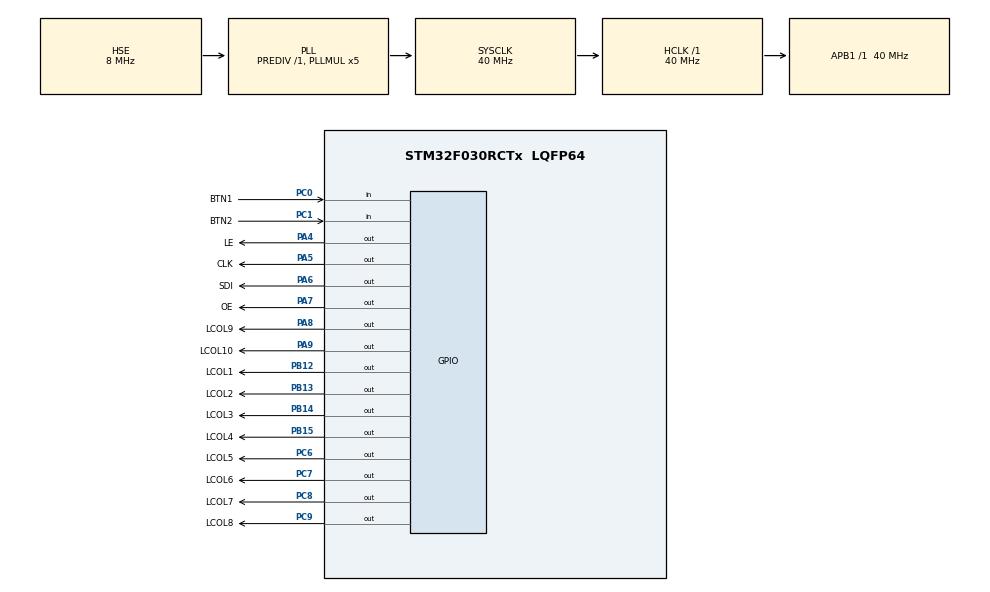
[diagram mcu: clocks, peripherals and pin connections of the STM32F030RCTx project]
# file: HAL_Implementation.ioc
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Mcu.Family=STM32F0
Mcu.Name=STM32F030RCTx
Mcu.Package=LQFP64
NVIC.RTC_IRQn=true\:0\:0\:false\:false\:true\:true
NVIC.TIM1_BRK_UP_TRG_COM_IRQn=true\:0\:0\:false\:false\:true\:false
NVIC.TIM7_IRQn=true\:0\:0\:false\:false\:true\:true
NVIC.TimeBase=TIM1_BRK_UP_TRG_COM_IRQn
NVIC.TimeBaseIP=TIM1
PA13.Mode=Serial_Wire
PA13.Signal=SYS_SWDIO
PA14.Mode=Serial_Wire
PA14.Signal=SYS_SWCLK
PA4.GPIO_Label=LE
PA4.Signal=GPIO_Output
PA5.GPIO_Label=CLK
PA5.Signal=GPIO_Output
PA6.GPIO_Label=SDI
PA6.Signal=GPIO_Output
PA7.GPIO_Label=OE
PA7.Signal=GPIO_Output
PA8.GPIO_Label=LCOL9
PA8.PinState=GPIO_PIN_SET
PA8.Signal=GPIO_Output
PA9.GPIO_Label=LCOL10
PA9.PinState=GPIO_PIN_SET
PA9.Signal=GPIO_Output
PB12.GPIO_Label=LCOL1
PB12.PinState=GPIO_PIN_SET
PB12.Signal=GPIO_Output
PB13.GPIO_Label=LCOL2
PB13.PinState=GPIO_PIN_SET
PB13.Signal=GPIO_Output
PB14.GPIO_Label=LCOL3
PB14.PinState=GPIO_PIN_SET
PB14.Signal=GPIO_Output
PB15.GPIO_Label=LCOL4
PB15.PinState=GPIO_PIN_SET
PB15.Signal=GPIO_Output
PC0.GPIO_Label=BTN1
PC0.Signal=GPIO_Input
PC1.GPIO_Label=BTN2
PC1.Signal=GPIO_Input
PC14OSC32_IN.Mode=LSE-External-Oscillator
PC14OSC32_IN.Signal=RCC_OSC32_IN
PC15OSC32_OUT.Mode=LSE-External-Oscillator
PC15OSC32_OUT.Signal=RCC_OSC32_OUT
PC6.GPIO_Label=LCOL5
PC6.PinState=GPIO_PIN_SET
PC6.Signal=GPIO_Output
PC7.GPIO_Label=LCOL6
PC7.PinState=GPIO_PIN_SET
PC7.Signal=GPIO_Output
PC8.GPIO_Label=LCOL7
PC8.PinState=GPIO_PIN_SET
PC8.Signal=GPIO_Output
PC9.GPIO_Label=LCOL8
PC9.PinState=GPIO_PIN_SET
PC9.Signal=GPIO_Output
PF0-OSC_IN.Mode=HSE-External-Oscillator
PF0-OSC_IN.Signal=RCC_OSC_IN
PF1-OSC_OUT.Mode=HSE-External-Oscillator
PF1-OSC_OUT.Signal=RCC_OSC_OUT
ProjectManager.HeapSize=0x200
ProjectManager.StackSize=0x400
ProjectManager.TargetToolchain=TrueSTUDIO
RCC.AHBFreq_Value=40000000
RCC.APB1Freq_Value=40000000
RCC.APB1TimFreq_Value=40000000
RCC.HCLKFreq_Value=40000000
RCC.PLLMUL=RCC_PLL_MUL5
RCC.PLLSourceVirtual=RCC_PLLSOURCE_HSE
RCC.RTCClockSelection=RCC_RTCCLKSOURCE_LSE
RCC.SYSCLKFreq_VALUE=40000000
RCC.SYSCLKSource=RCC_SYSCLKSOURCE_PLLCLK
RTC.Alarm-Alarm\ A=RTC_ALARM_A
RTC.AlarmMaskDateWeekDay-Alarm\ A=RTC_ALARMMASK_DATEWEEKDAY
RTC.AlarmMaskHours-Alarm\ A=RTC_ALARMMASK_HOURS
RTC.AlarmMaskMinutes-Alarm\ A=RTC_ALARMMASK_MINUTES
RTC.AlarmMaskSeconds-Alarm\ A=RTC_ALARMMASK_SECONDS
RTC.AlarmSubSecondMask-Alarm\ A=RTC_ALARMSUBSECONDMASK_NONE
RTC.Format=RTC_FORMAT_BIN
RTC.HourFormat=RTC_HOURFORMAT_12
TIM6.Period=0
TIM6.Prescaler=40
TIM7.AutoReloadPreload=TIM_AUTORELOAD_PRELOAD_ENABLE
TIM7.Period=0
TIM7.Prescaler=1600
VP_RTC_VS_RTC_Activate.Mode=RTC_Enabled
VP_RTC_VS_RTC_Alarm_A_Intern.Mode=Alarm A
VP_RTC_VS_RTC_Calendar.Mode=RTC_Calendar
VP_SYS_VS_tim1.Mode=TIM1
VP_TIM6_VS_ClockSourceINT.Mode=Enable_Timer
VP_TIM7_VS_ClockSourceINT.Mode=Enable_Timer
board=custom

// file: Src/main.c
/**
  ******************************************************************************
  * @file           : main.c
  * @brief          : Main program body
  ******************************************************************************
  ** This notice applies to any and all portions of this file
  * that are not between comment pairs USER CODE BEGIN and
  * USER CODE END. Other portions of this file, whether
  * inserted by the user or by software development tools
  * are owned by their respective copyright owners.
  *
  * COPYRIGHT(c) 2018 STMicroelectronics
  *
  * Redistribution and use in source and binary forms, with or without modification,
  * are permitted provided that the following conditions are met:
  *   1. Redistributions of source code must retain the above copyright notice,
  *      this list of conditions and the following disclaimer.
  *   2. Redistributions in binary form must reproduce the above copyright notice,
  *      this list of conditions and the following disclaimer in the documentation
  *      and/or other materials provided with the distribution.
  *   3. Neither the name of STMicroelectronics nor the names of its contributors
  *      may be used to endorse or promote products derived from this software
  *      without specific prior written permission.
  *
  * THIS SOFTWARE IS PROVIDED BY THE COPYRIGHT HOLDERS AND CONTRIBUTORS "AS IS"
  * AND ANY EXPRESS OR IMPLIED WARRANTIES, INCLUDING, BUT NOT LIMITED TO, THE
  * IMPLIED WARRANTIES OF MERCHANTABILITY AND FITNESS FOR A PARTICULAR PURPOSE ARE
  * DISCLAIMED. IN NO EVENT SHALL THE COPYRIGHT HOLDER OR CONTRIBUTORS BE LIABLE
  * FOR ANY DIRECT, INDIRECT, INCIDENTAL, SPECIAL, EXEMPLARY, OR CONSEQUENTIAL
  * DAMAGES (INCLUDING, BUT NOT LIMITED TO, PROCUREMENT OF SUBSTITUTE GOODS OR
  * SERVICES; LOSS OF USE, DATA, OR PROFITS; OR BUSINESS INTERRUPTION) HOWEVER
  * CAUSED AND ON ANY THEORY OF LIABILITY, WHETHER IN CONTRACT, STRICT LIABILITY,
  * OR TORT (INCLUDING NEGLIGENCE OR OTHERWISE) ARISING IN ANY WAY OUT OF THE USE
  * OF THIS SOFTWARE, EVEN IF ADVISED OF THE POSSIBILITY OF SUCH DAMAGE.
  *
  ******************************************************************************
  */
#include "main.h"
#include "stm32f0xx_hal.h"
#include "rtc.h"
#include "tim.h"
#include "gpio.h"

/* USER CODE BEGIN Includes */
#define TLC5925_WIDTH 16
/* USER CODE END Includes */

/* USER CODE BEGIN PV */
/* Private variables ---------------------------------------------------------*/
uint16_t* active_leds_columns;
uint8_t cur_column = 0;
uint8_t mutex = 0;
GPIO_TypeDef* COL_port_array[] = { LCOL1_GPIO_Port, LCOL2_GPIO_Port,
LCOL3_GPIO_Port, LCOL4_GPIO_Port, LCOL5_GPIO_Port, LCOL6_GPIO_Port,
LCOL7_GPIO_Port, LCOL8_GPIO_Port, LCOL9_GPIO_Port, LCOL10_GPIO_Port, NULL };
uint16_t COL_pin_array[] = { LCOL1_Pin, LCOL2_Pin, LCOL3_Pin, LCOL4_Pin,
LCOL5_Pin, LCOL6_Pin, LCOL7_Pin, LCOL8_Pin, LCOL9_Pin, LCOL10_Pin, 0 };
/* USER CODE END PV */

void SystemClock_Config(void);

/* USER CODE BEGIN PFP */
/* Private function prototypes -----------------------------------------------*/

/* USER CODE END PFP */

int main(void)
{

  /* MCU Configuration----------------------------------------------------------*/

  /* Reset of all peripherals, Initializes the Flash interface and the Systick. */
  HAL_Init();

  /* Configure the system clock */
  SystemClock_Config();

  /* Initialize all configured peripherals */
  MX_GPIO_Init();
  MX_RTC_Init();
  MX_TIM6_Init();
  MX_TIM7_Init();
  /* USER CODE BEGIN 2 */
	active_leds_columns = (uint16_t*) malloc(sizeof(uint16_t) * TLC5925_WIDTH);
	if (active_leds_columns == NULL)
		Error_Handler();
	memset(active_leds_columns, 0, sizeof(uint16_t) * TLC5925_WIDTH);
	HAL_GPIO_WritePin(OE_GPIO_Port, OE_Pin, GPIO_PIN_RESET);
	HAL_TIM_Base_Start_IT(&htim7);
  /* USER CODE END 2 */

  /* Infinite loop */
	while (1) {

	}

}

void SystemClock_Config(void)
{

  RCC_OscInitTypeDef RCC_OscInitStruct;
  RCC_ClkInitTypeDef RCC_ClkInitStruct;
  RCC_PeriphCLKInitTypeDef PeriphClkInit;

    /**Configure LSE Drive Capability
    */
  HAL_PWR_EnableBkUpAccess();

  __HAL_RCC_LSEDRIVE_CONFIG(RCC_LSEDRIVE_HIGH);

    /**Initializes the CPU, AHB and APB busses clocks
    */
  RCC_OscInitStruct.OscillatorType = RCC_OSCILLATORTYPE_HSE|RCC_OSCILLATORTYPE_LSE;
  RCC_OscInitStruct.HSEState = RCC_HSE_ON;
  RCC_OscInitStruct.LSEState = RCC_LSE_ON;
  RCC_OscInitStruct.PLL.PLLState = RCC_PLL_ON;
  RCC_OscInitStruct.PLL.PLLSource = RCC_PLLSOURCE_HSE;
  RCC_OscInitStruct.PLL.PLLMUL = RCC_PLL_MUL5;
  RCC_OscInitStruct.PLL.PREDIV = RCC_PREDIV_DIV1;
  if (HAL_RCC_OscConfig(&RCC_OscInitStruct) != HAL_OK)
  {
    _Error_Handler(__FILE__, __LINE__);
  }

    /**Initializes the CPU, AHB and APB busses clocks
    */
  RCC_ClkInitStruct.ClockType = RCC_CLOCKTYPE_HCLK|RCC_CLOCKTYPE_SYSCLK
                              |RCC_CLOCKTYPE_PCLK1;
  RCC_ClkInitStruct.SYSCLKSource = RCC_SYSCLKSOURCE_PLLCLK;
  RCC_ClkInitStruct.AHBCLKDivider = RCC_SYSCLK_DIV1;
  RCC_ClkInitStruct.APB1CLKDivider = RCC_HCLK_DIV1;

  if (HAL_RCC_ClockConfig(&RCC_ClkInitStruct, FLASH_LATENCY_1) != HAL_OK)
  {
    _Error_Handler(__FILE__, __LINE__);
  }

  PeriphClkInit.PeriphClockSelection = RCC_PERIPHCLK_RTC;
  PeriphClkInit.RTCClockSelection = RCC_RTCCLKSOURCE_LSE;
  if (HAL_RCCEx_PeriphCLKConfig(&PeriphClkInit) != HAL_OK)
  {
    _Error_Handler(__FILE__, __LINE__);
  }

    /**Configure the Systick interrupt time
    */
  HAL_SYSTICK_Config(HAL_RCC_GetHCLKFreq()/1000);

    /**Configure the Systick
    */
  HAL_SYSTICK_CLKSourceConfig(SYSTICK_CLKSOURCE_HCLK);

  /* SysTick_IRQn interrupt configuration */
  HAL_NVIC_SetPriority(SysTick_IRQn, 0, 0);
}

/* USER CODE BEGIN 4 */

/**
 * Delay function using Timer6 as a timebase. Delays for the specified amount of us.
 */
void __delay_us(uint16_t us) {
	htim6.Instance->CR1 |= TIM_CR1_CEN; //Run Timer
	while (htim6.Instance->CNT < us)
		; //Wait and be vewwy vewwy quiet
	htim6.Instance->CR1 &= ~(TIM_CR1_CEN); //Stop Timer
	htim6.Instance->CNT = 0; //Reset Value
}

/**
 * Function that puts the 16bit int specified in out into the TLC5925 LED Driver on the board.
 * LE is pulsed so the buffers are cleared. LE and CLK Signals are cleared at return. SDI is not
 */
void TLC_Out(uint16_t out) {

//Sanity check. We care about these two lines. SDI is irrelevant and OE is controlled elsewhere
	HAL_GPIO_WritePin(LE_GPIO_Port, LE_Pin, GPIO_PIN_RESET);
	HAL_GPIO_WritePin(CLK_GPIO_Port, CLK_Pin, GPIO_PIN_RESET);

//Shift through the bits one by one and put em in the chip. Right now 1us delay bc debugging
	for (int i = 0; i < 16; i++) {
		HAL_GPIO_WritePin(SDI_GPIO_Port, SDI_Pin, (out << i) & 0x01);
		__delay_us(1);
		HAL_GPIO_WritePin(CLK_GPIO_Port, CLK_Pin, GPIO_PIN_SET);
		__delay_us(1);
		HAL_GPIO_WritePin(CLK_GPIO_Port, CLK_Pin, GPIO_PIN_RESET);
	}

//Pulse LE to put the buffers through to the actual pins. Also 1us bc debugging. sue me
	HAL_GPIO_WritePin(LE_GPIO_Port, LE_Pin, GPIO_PIN_SET);
	__delay_us(1);
	HAL_GPIO_WritePin(LE_GPIO_Port, LE_Pin, GPIO_PIN_RESET);

}

void ColumnOut(GPIO_TypeDef* port, uint16_t pin) {

	HAL_GPIO_WritePin(port, pin, GPIO_PIN_RESET);
	while (mutex)
		;
	mutex = ~mutex;
	TLC_Out(active_leds_columns[cur_column]);
	__delay_us(5);
	cur_column = (cur_column + 1) % 10;
	mutex = ~mutex;
	HAL_GPIO_WritePin(port, pin, GPIO_PIN_SET);

}

/**
 * Specified for the german front panel.
 */
void DecodeTime(RTC_TimeTypeDef time) {

	//Wait for mutex and lock it if you can
	while (mutex)
		;
	mutex = ~mutex;

	//Reset
	memset(active_leds_columns, 0, sizeof(uint16_t) * TLC5925_WIDTH);

	//Always needed
	active_leds_columns[0] |= 0xDC00; //0xDC00 = [Es ist] on
	active_leds_columns[8] |= 0x0007; //0x0007 = [Uhr] on

	uint8_t min_index = time.Minutes / 5;
	uint8_t hour_index = time.Hours % 12;

	/**	Minute Math
	 * 0-59 / 5 = 0-11
	 * 0 = - [-]
	 * 1 =  [Fünf + Nach]x
	 * 2 =  [Zehn + Nach]x
	 * 3 =  [Viertel + Nach]x
	 * 4 =  [Zwanzig + Nach]x
	 * 5 =  [Fünf + Vor + Halb]
	 * 6 =  [Halb] 					+h
	 * 7 =  [Fünf + Nach + Halb]	+h
	 * 8 =  [Zwanzig + Vor]			+h
	 * 9 =  [Drei + viertel]		+h
	 * 10 = [Zehn + Vor]			+h
	 * 11 = [Fünf + Vor]			+h
	 *
	 * [Nach] 	 = 		Row: 3 | Leds: 0x1E00
	 * [Vor]  	 =		Row: 3 | Leds: 0xE000
	 * [Fünf] 	 =		Row: 0 | Leds: 0x00F0
	 * [Zehn] 	 =		Row: 1 | Leds: 0xF000
	 * [Viertel] =		Row: 2 | Leds: 0x07F0
	 * [Zwanzig] =		Row: 1 | Leds: 0x07F0
	 * [Drei]	 =		Row: 2 | Leds: 0x7800
	 * [Halb]	 =		Row: 3 | Leds: 0x00F0
	 */
	if (min_index) {
		if (min_index < 5 || min_index == 7) {	//[Nach]
			active_leds_columns[3] |= 0x1E00;
		}
		if (min_index > 9 || min_index == 8 || min_index == 5) {	//[Vor]
			active_leds_columns[3] |= 0xE000;
		}
		if (min_index % 6 == 1 || min_index % 6 == 5) {	//[Fünf]
			active_leds_columns[0] |= 0x00F0;
		}
		if (min_index % 8 == 2) {	//[Zehn]
			active_leds_columns[1] |= 0xF000;
		}
		if (min_index % 6 == 3) {	//[Viertel]
			active_leds_columns[2] |= 0x07F0;
		}
		if (min_index % 4 == 0) {	//[Zwanzig]
			active_leds_columns[1] |= 0x07F0;
		}
		if (min_index == 9) {	//[Drei]
			active_leds_columns[2] |= 0x7800;
		}
		if (min_index > 4 && min_index < 8) { //[Halb]
			active_leds_columns[3] |= 0x00F0;
		}
		if (min_index > 6) { //+h
			hour_index = (hour_index + 1) % 12;
		}
	}

	//Hour Math
	//F800 = [Zwölf]  on =>  Row: 4 | Leds: 0xF800;
	//F000 = [Eins]   on =>  Row: 5 | Leds: 0xF000;
	//03C0 = [Zwei]   on =>  Row: 6 | Leds: 0x03C0;
	//0F00 = [Drei]   on =>  Row: 8 | Leds: 0x0F00;
	//0F00 = [Vier]   on =>  Row: 5 | Leds: 0x0F00;
	//7800 = [Fünf]   on =>  Row: 7 | Leds: 0x7800;
	//F800 = [Sechs]  on =>  Row: 6 | Leds: 0xF800;
	//03F0 = [Sieben] on =>  Row: 4 | Leds: 0x03F0;
	//00F0 = [Acht]   on =>  Row: 5 | Leds: 0x00F0;
	//F000 = [Neun]   on =>  Row: 8 | Leds: 0xF000;
	//00F0 = [Zehn]   on =>  Row: 7 | Leds: 0x00F0;
	//0700 = [Elf]    on =>  Row: 7 | Leds: 0x0700;
	uint16_t hours_leds[] = { 0xF800, 0xF000, 0x03C0, 0x0F00, 0x0F00, 0x7800,
			0xF800, 0x03F0, 0x00F0, 0xF000, 0x00F0, 0x0700 };
	uint8_t hours_cols[] = { 4, 5, 6, 8, 5, 7, 6, 4, 5, 8, 7, 7 };
	active_leds_columns[hours_cols[hour_index]] |= hours_leds[hour_index];

	//Unlock mutex
	mutex = ~mutex;

}

void HAL_RTC_AlarmAEventCallback(RTC_HandleTypeDef *hrtc) {
	RTC_TimeTypeDef time;
	HAL_RTC_GetTime(&hrtc, &time, RTC_FORMAT_BIN);
	DecodeTime(time);
}

/* USER CODE END 4 */

void HAL_TIM_PeriodElapsedCallback(TIM_HandleTypeDef *htim)
{
  if (htim->Instance == TIM1) {
    HAL_IncTick();
  }
  /* USER CODE BEGIN Callback 1 */
	if (htim->Instance == TIM7) {
		ColumnOut(COL_port_array[cur_column], COL_pin_array[cur_column]);
	}
  /* USER CODE END Callback 1 */
}

void _Error_Handler(char *file, int line)
{
	while (1) {
	}
}

/************************ (C) COPYRIGHT STMicroelectronics *****END OF FILE****/
